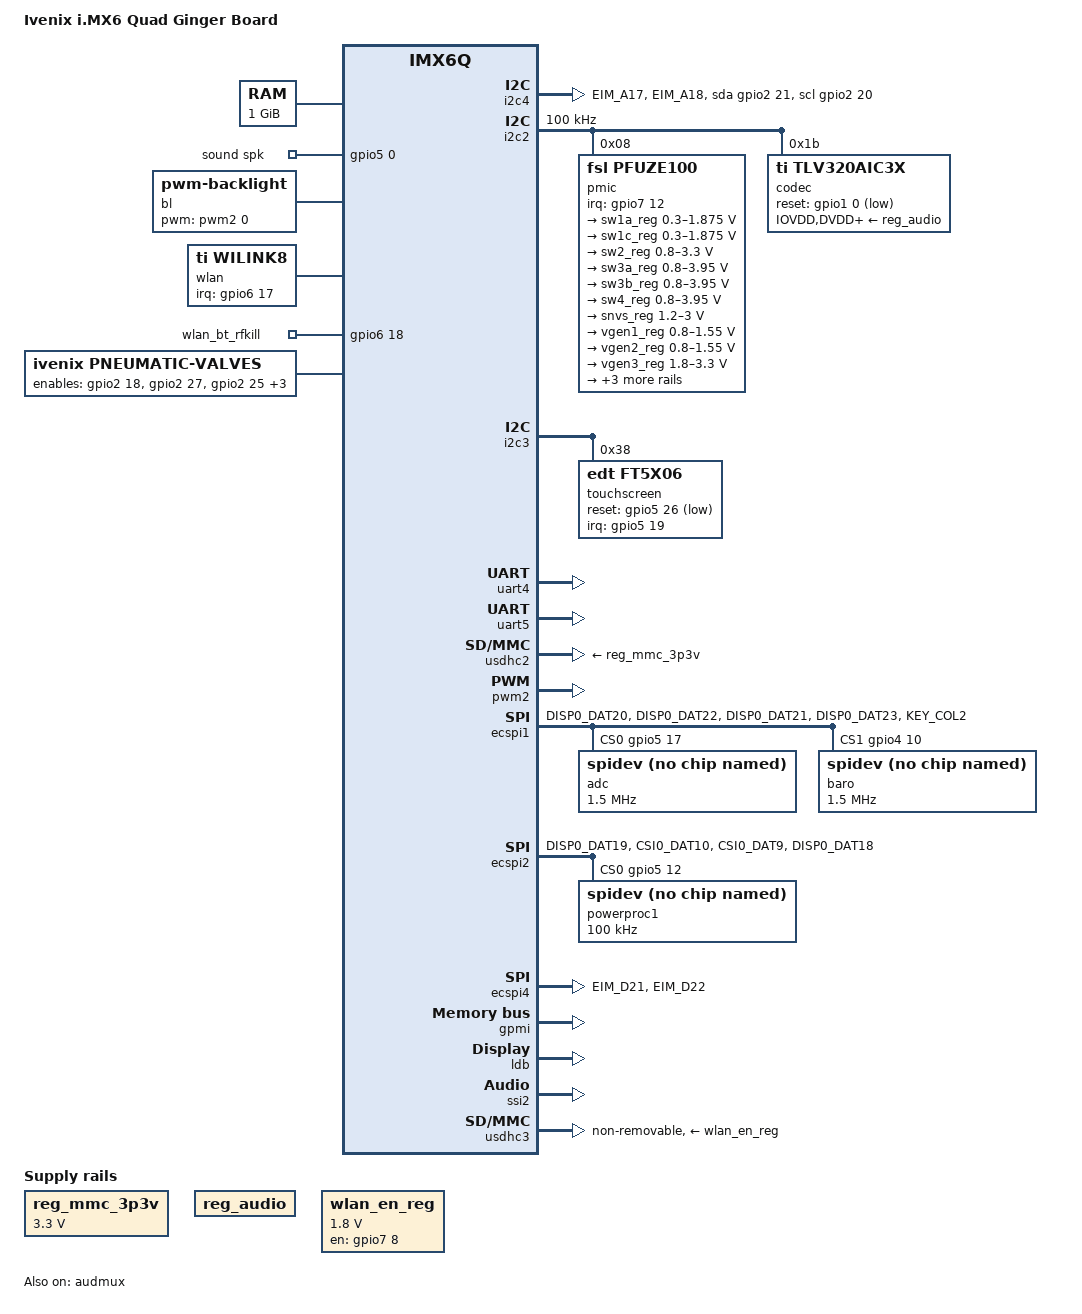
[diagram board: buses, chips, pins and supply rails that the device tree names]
/*
 * Copyright 2014 Ivenix Corp.
 *
 * The code contained herein is licensed under the GNU General Public
 * License. You may obtain a copy of the GNU General Public License
 * Version 2 or later at the following locations:
 *
 * http://www.opensource.org/licenses/gpl-license.html
 * http://www.gnu.org/copyleft/gpl.html
 */

#include "imx6q.dtsi"

/ {
	model = "Ivenix i.MX6 Quad Ginger Board";
	compatible = "fsl,imx6q-ginger", "fsl,imx6q";

	memory {
		reg = <0x10000000 0x40000000>;
	};

	aliases {
		mxcfb0 = &mxcfb1;
	};

	regulators {
		compatible = "simple-bus";

		reg_mmc_3p3v: 3p3v {
			compatible = "regulator-fixed";
			regulator-name = "3P3V";
			regulator-min-microvolt = <3300000>;
			regulator-max-microvolt = <3300000>;
			regulator-always-on;
		};

		reg_audio: tlv320aic3x_supply {
			compatible = "regulator-fixed";
			regulator-name = "tlv320aic3x-supply";
			enable-active-high;
		};
	};

	sound {
		compatible = "fsl,imx6q-var-som-tlv320aic3x", "fsl,imx-audio-tlv320aic3x";
		model = "tlv320aic3x-audio";
		ssi-controller = <&ssi2>;
		audio-codec = <&codec>;
		audio-routing =
			/* Headphone connected to HPLOUT, HPROUT */
			"Headphone Jack",       "HPLOUT",
			"Headphone Jack",       "HPROUT",
			/* Line Out connected to LLOUT, RLOUT */
			"Line Out",      	"LLOUT",
			"Line Out",     	"RLOUT",
			/* Mic connected to (MIC3L | MIC3R) */
			"Mic Bias",		"MIC3L",
			"Mic Bias",		"MIC3R",
			"Mic Jack",		"Mic Bias",
			/* Line In connected to (LINE1L | LINE2L), (LINE1R | LINE2R) */
			"Line In",		"LINE1L",
			"Line In",		"LINE2L",
			"Line In",		"LINE1R",
			"Line In",		"LINE2R";
		mux-int-port = <2>;
		mux-ext-port = <3>;
		spk-gpio = <&gpio5 0 0>;
	};

	mxcfb1: fb@0 {
	       compatible = "fsl,mxc_sdc_fb";
	       disp_dev = "ldb";
	       interface_pix_fmt = "RGB24";
	       mode_str ="LDB-VGA";
	       default_bpp = <16>;
	       int_clk = <0>;
	       late_init = <0>;
	       status = "okay";
	};


    wlcore {
		compatible = "wlcore";
		gpio = <177>;   /* The wl8 driver expects gpio to be an integer, so gpio6_17 is (6-1)*32+17=207
		        	   irq property must not be set as driver derives irq number from gpio if no irq set
	 			   use edge irqs for suspend/resume */
		platform-quirks = <1>;
		/* if a 12xx card is there, configure the clock to WL12XX_REFCLOCK_38_XTAL */
		board-ref-clock = <4>;
	};

	wlan_en_reg: fixedregulator@2 {
		compatible = "regulator-fixed";
		regulator-name = "wlan-en-regulator";
		regulator-min-microvolt = <1800000>;
		regulator-max-microvolt = <1800000>;

		/* WLAN_EN GPIO for this board - Bank5, pin13 */
		gpio = <&gpio7 8 0>;

		/* WLAN card specific delay */
		startup-delay-us = <70000>;
		enable-active-high;
	};

	i2c4: i2c@4 {
		compatible = "i2c-gpio";
		#address-cells = <1>;
		#size-cells = <0>;
		gpios = <&gpio2 21 0	// SDA
			 &gpio2 20 0	// SCL
			>;
		i2c-gpio,delay-us = <50>;
		i2c-gpio,timeout-ms = <10>;

		pinctrl-names = "default";
		pinctrl-0 = <&pinctrl_i2c4_1>;
		status = "okay";

		// fluid valve encoder
	};

	lcd@0 {
		compatible = "fsl,lcd";
		ipu_id = <0>;
		disp_id = <0>;
		default_ifmt = "RGB565";
//		pinctrl-names = "default";
//		pinctrl-0 = <&pinctrl_ipu1_1>;
		status = "okay";
	};

	bl: backlight {
		compatible = "pwm-backlight";
		pwms = <&pwm2 0 10000000 1>; /* 100 Hz, inverted polarity */
		pwm-names = "backlight";
		brightness-levels = <0 39 65 90 128 179 39 76 128 192 255>;
 		default-brightness-level = <10>;
		low-threshold-brightness = <30>;
	};

    wlan {
		compatible = "ti,wilink8";
		interrupt-parent = <&gpio6>;
		interrupts = <17 0>;
		clocks = <&refclock>;
		clock-names = "refclock";

		refclock: refclock {
			compatible = "ti,wilink-clock";
			#clock-cells = <0>;
			clock-frequency = <38400000>;
		};
	};

	wlan_bt_rfkill {
		compatible = "net,rfkill-gpio";
		name = "wlan_bt_rfkill";
		type = <2>;     /* bluetooth */
		gpios = <&gpio6 18 0>;
	};

	valves {
		compatible = "ivenix,pneumatic-valves";

		pinctrl-names = "default";
		pinctrl-0 = <&pinctrl_valves>;

		/*
		 * The control lines must be listed in the following order:
		 *
		 * pump positive vent
		 * negative tank
		 * IPC
		 * positive tank
		 * common vent
		 * pump negative vent
		 */
		enables = <&gpio2 18 0>, <&gpio2 27 0>, <&gpio2 25 0>, <&gpio2 19 0>, <&gpio2 26 0>, <&gpio2 28 0>;
	};

	lvp-control-signals {
		compatible = "gpio-of-helper";
		status = "okay";
		pinctrl-names = "default";
		pinctrl-0 = <&pinctrl_lvpio>;

		audio-pwr-en {
			gpio-name = "AUDIO_PWR_EN";
			gpio = <&gpio5 4 0>;
			output;
			init-low;
		};

		av-motor-en {
			gpio-name = "AV_MOTOR_ENn";
			gpio = <&gpio2 23 0>;
			output;
			init-high;
		};

		av-motor-dir {
			gpio-name = "AV_MOTOR_DIR";
			gpio = <&gpio2 16 0>;
			output;
			init-low;
		};

		/* Set ID */

		set-id-en {
			gpio-name = "SET_ID_EN";
			gpio = <&gpio6 5 0>;
			output;
			init-high;
		};

		set-id-addr1 {
			gpio-name = "SET_ID_ADDR1";
			gpio = <&gpio6 0 0>;
			output;
            init-low;
		};

		set-id-addr2 {
			gpio-name = "SET_ID_ADDR2";
			gpio = <&gpio6 1 0>;
			output;
            init-low;
		};

		set-id-addr3 {
			gpio-name = "SET_ID_ADDR3";
			gpio = <&gpio6 2 0>;
			output;
            init-low;
		};

		set-id-mark {
			gpio-name = "SET_ID_MARK";
			gpio = <&gpio6 4 0>;
			input;
		};

		/* misc */

		enable-sys-12v {
			gpio-name = "ENABLE_SYS_12V";
			gpio = <&gpio1 4 0>;
			output;
			init-low;
		};

		run-from-batt1 {
			gpio-name = "RUN_FROM_BATT1";
			gpio = <&gpio6 3 0>;
			input;
		};

		run-from-batt2 {
			gpio-name = "RUN_FROM_BATT2";
			gpio = <&gpio6 31 0>;
			input;
		};

        pp-com-rqst-to-som {
            gpio-name = "PP_COM_RQST_TO_SOM";
			gpio = <&gpio6 6 0>;
			input;
         };


		/* LCD */

		lcd-en {
			gpio-name = "LCD_EN";
			gpio = <&gpio5 20 0>;
			output;
			init-low;
		};

		lcd-bl-en {
			gpio-name = "LCD_BL_EN";
			gpio = <&gpio5 21 0>;
			output;
			init-low;
		};

		/* air compressor */

		air-pump-drv {
			gpio-name = "AIR_PUMP_DRV";
			gpio = <&gpio4 14 0>;
			output;
			init-low;
		};
        
        

	};

};


	

&audmux {
	pinctrl-names = "default";
	pinctrl-0 = <&pinctrl_audmux_2>;
	status = "okay";
};

&iomuxc {
	pinctrl-names = "default";
	pinctrl-0 = <&pinctrl_hog>;

	hog {
		pinctrl_hog: hoggrp {
			fsl,pins = <
				//MX6QDL_PAD_SD3_DAT7__GPIO6_IO17		0x0001b0b0	/* wl12xx_wl_irq */
				//MX6QDL_PAD_SD3_DAT6__GPIO6_IO18		0x000000b0	/* wl12xx_bt_en */
				//MX6QDL_PAD_SD3_RST__GPIO7_IO08		0x000000b0	/* wl12xx_wl_en */
				MX6QDL_PAD_GPIO_17__GPIO7_IO12		0x80000000	/* PMIC irq */
				MX6QDL_PAD_ENET_RXD0__OSC32K_32K_OUT	0x80000000	/* WIFI Slow clock */

				MX6QDL_PAD_GPIO_3__CCM_CLKO2		0x000130b0	/* Camera MCLK */

				MX6QDL_PAD_GPIO_0__CCM_CLKO1		0x000130b0	/* Audio Codec Clock */
			>;
		};
	};

	i2c4 {
		pinctrl_i2c4_1: i2c4grp-1 {
			fsl,pins = <
				MX6QDL_PAD_EIM_A17__GPIO2_IO21 0x00017070 /* SDA */
				MX6QDL_PAD_EIM_A18__GPIO2_IO20 0x00017070 /* SCL */
			>;
		};
	};

	spi1 {
		pinctrl_spi1: spi1grp-1 {
			fsl,pins = <
				MX6QDL_PAD_DISP0_DAT20__ECSPI1_SCLK 0x100b1
				MX6QDL_PAD_DISP0_DAT22__ECSPI1_MISO 0x100b1
				MX6QDL_PAD_DISP0_DAT21__ECSPI1_MOSI 0x100b1

				MX6QDL_PAD_DISP0_DAT23__GPIO5_IO17 0x80000000
				MX6QDL_PAD_KEY_COL2__GPIO4_IO10 0x80000000
			>;
		};
	};

	spi2 {
		pinctrl_spi2: spi2grp-1 {
			fsl,pins = <
				MX6QDL_PAD_DISP0_DAT19__ECSPI2_SCLK 0x100b1
				MX6QDL_PAD_CSI0_DAT10__ECSPI2_MISO 0x100b1
				MX6QDL_PAD_CSI0_DAT9__ECSPI2_MOSI 0x100b1

				MX6QDL_PAD_DISP0_DAT18__GPIO5_IO12 0x80000000
			>;
		};
	};

	spi4 {
		pinctrl_spi4: spi4grp-1 {
			fsl,pins = <
				MX6QDL_PAD_EIM_D21__ECSPI4_SCLK 0x800100b1
				MX6QDL_PAD_EIM_D22__ECSPI4_MISO 0x800100b1
			>;
		};
	};

	touch {
		edt_ft5x06_pins: ft5x06grp-1 {
			fsl,pins = <
				MX6QDL_PAD_CSI0_MCLK__GPIO5_IO19 0x80000000	/* TOUCH_PANEL_INTn */
                MX6QDL_PAD_CSI0_DAT8__GPIO5_IO26 0x80000000	/* TOUCH_PANEL_RSTn */ 
			>;
		};
	};

	valves {
		pinctrl_valves: valves-1 {
			fsl,pins = <
				MX6QDL_PAD_EIM_A20__GPIO2_IO18	0x80000000	/* PNEU_VLV_ON_1 */
				MX6QDL_PAD_EIM_A19__GPIO2_IO19	0x80000000	/* PNEU_VLV_ON_2 */
				MX6QDL_PAD_EIM_OE__GPIO2_IO25	0x80000000	/* PNEU_VLV_ON_3 */
				MX6QDL_PAD_EIM_RW__GPIO2_IO26	0x80000000	/* PNEU_VLV_ON_4 */
				MX6QDL_PAD_EIM_LBA__GPIO2_IO27	0x80000000	/* PNEU_VLV_ON_5 */
				MX6QDL_PAD_EIM_EB0__GPIO2_IO28	0x80000000	/* PNEU_VLV_ON_6 */
			>;
		};
	};

	lvpio {
		pinctrl_lvpio: lvpio-1 {
			fsl,pins = <
				MX6QDL_PAD_EIM_BCLK__GPIO6_IO31	0x80000000	/* RUN_FROM_BATT2 */
				MX6QDL_PAD_EIM_WAIT__GPIO5_IO00	0x80000000	/* AUDIO_AMP_EN */
				MX6QDL_PAD_EIM_A24__GPIO5_IO04	0x80000000	/* AUDIO_PWR_EN */
				MX6QDL_PAD_EIM_A23__GPIO6_IO06  0x80000000  /* PP_COM_RQST_TO_SOM */
                MX6QDL_PAD_EIM_CS0__GPIO2_IO23	0x80000000	/* AV_MOTOR_ENn */
				MX6QDL_PAD_EIM_A22__GPIO2_IO16	0x80000000	/* AV_MOTOR_DIR */
				MX6QDL_PAD_CSI0_DAT19__GPIO6_IO05 0x80000000	/* SET_ID_EN */
				MX6QDL_PAD_CSI0_DAT14__GPIO6_IO00 0x80000000	/* SET_ID_ADDR1 */
				MX6QDL_PAD_CSI0_DAT15__GPIO6_IO01 0x80000000	/* SET_ID_ADDR2 */
				MX6QDL_PAD_CSI0_DAT16__GPIO6_IO02 0x80000000	/* SET_ID_ADDR3 */
				MX6QDL_PAD_CSI0_DAT17__GPIO6_IO03 0x80000000	/* RUN_FROM_BATT1 */
				MX6QDL_PAD_CSI0_DAT18__GPIO6_IO04 0x80000000	/* SET_ID_MARK */ 
				MX6QDL_PAD_GPIO_4__GPIO1_IO04	0x80000000	    /* ENABLE_SYS_12V */
				MX6QDL_PAD_CSI0_DATA_EN__GPIO5_IO20 0x80000000	/* LCD_EN */
				MX6QDL_PAD_CSI0_VSYNC__GPIO5_IO21 0x80000000	/* LCD_BL_EN */
				MX6QDL_PAD_KEY_COL4__GPIO4_IO14	0x80000000	/* AIR_PUMP_DRV */

			>;
		};
	};
};

&i2c2 {
	clock-frequency = <100000>;
	pinctrl-names = "default";
	pinctrl-0 = <&pinctrl_i2c2_2>;
	status = "okay";

	pmic: pfuze100@08 {
		compatible = "fsl,pfuze100";
		reg = <0x08>;
		interrupt-parent = <&gpio7>;
		interrupts = <12 0>;

		regulators {
			sw1a_reg: sw1ab {
				regulator-min-microvolt = <300000>;
				regulator-max-microvolt = <1875000>;
				regulator-boot-on;
				regulator-always-on;
				regulator-ramp-delay = <6250>;
			};

			sw1c_reg: sw1c {
				regulator-min-microvolt = <300000>;
				regulator-max-microvolt = <1875000>;
				regulator-boot-on;
				regulator-always-on;
				regulator-ramp-delay = <6250>;
			};

			sw2_reg: sw2 {
				regulator-min-microvolt = <800000>;
				regulator-max-microvolt = <3300000>;
				regulator-boot-on;
				regulator-always-on;
			};

			sw3a_reg: sw3a {
				regulator-min-microvolt = <800000>;
				regulator-max-microvolt = <3950000>;
				regulator-boot-on;
				regulator-always-on;
			};

			sw3b_reg: sw3b {
				regulator-min-microvolt = <800000>;
				regulator-max-microvolt = <3950000>;
				regulator-boot-on;
				regulator-always-on;
			};

			sw4_reg: sw4 {
				regulator-min-microvolt = <800000>;
				regulator-max-microvolt = <3950000>;
			};

			snvs_reg: vsnvs {
				regulator-min-microvolt = <1200000>;
				regulator-max-microvolt = <3000000>;
				regulator-boot-on;
				regulator-always-on;
			};

			vref_reg: vrefddr {
				regulator-boot-on;
				regulator-always-on;
			};

			vgen1_reg: vgen1 {
				regulator-min-microvolt = <800000>;
				regulator-max-microvolt = <1550000>;
			};

			vgen2_reg: vgen2 {
				regulator-min-microvolt = <800000>;
				regulator-max-microvolt = <1550000>;
			};

			vgen3_reg: vgen3 {
				regulator-min-microvolt = <1800000>;
				regulator-max-microvolt = <3300000>;
				regulator-always-on;
				regulator-boot-on;
			};

			vgen4_reg: vgen4 {
				regulator-min-microvolt = <1800000>;
				regulator-max-microvolt = <3300000>;
				regulator-always-on;
				regulator-boot-on;
			};

			vgen5_reg: vgen5 {
				regulator-min-microvolt = <1800000>;
				regulator-max-microvolt = <3300000>;
				regulator-always-on;
				regulator-boot-on;
			};

			vgen6_reg: vgen6 {
				regulator-min-microvolt = <3300000>;
				regulator-max-microvolt = <3300000>;
				regulator-always-on;
				regulator-boot-on;
			};
		};
	};

	codec: tlv320aic3x@1b {
		compatible = "ti,tlv320aic3x";
		reg = <0x1b>;
		clocks = <&clks 201>;
		clock-names = "clko_clk";
		IOVDD-supply = <&reg_audio>;
		DVDD-supply = <&reg_audio>;
		AVDD-supply = <&reg_audio>;
		DRVDD-supply = <&reg_audio>;
		gpio-reset = <&gpio1 0 1>;
		gpio-cfg = <
			0x0000 /* 0:Default */
			0x0000 /* 1:Default */
			0x0013 /* 2:FN_DMICCLK */
			0x0000 /* 3:Default */
			0x8014 /* 4:FN_DMICCDAT */
			0x0000 /* 5:Default */
		>;
       	};
};

&i2c3 {
	pinctrl-names = "default";
	pinctrl-0 = <&pinctrl_i2c3_3>;
	status = "okay";

	touchscreen {
		compatible = "edt,ft5x06";
		reg = <0x38>;
		pinctrl-names = "default";
		pinctrl-0 = <&edt_ft5x06_pins>;
		interrupt-parent = <&gpio5>;
		interrupts = <19 0>;
		reset-gpios = <&gpio5 26 1>;
	};
};


&uart4 {
	/* Safety Processor I/F */
	pinctrl-names = "default";
	pinctrl-0 = <&pinctrl_uart4_2>;
	status = "okay";
};

&uart5 {
	/* Linux Console */
	pinctrl-names = "default";
	pinctrl-0 = <&pinctrl_uart5_1>;
	status = "okay";
};

&usdhc2 {
	pinctrl-names = "default";
	pinctrl-0 = <&pinctrl_usdhc2_2>;
	vmmc-supply = <&reg_mmc_3p3v>;
	status = "okay";
};


/* LCD */

&pwm2 {
        pinctrl-names = "default";
        pinctrl-0 = <&pinctrl_pwm2_1>;
        status = "okay";
};

/* 
 * SPI1
 *
 * SS0: ADC
 * SS1: barometric pressure
 */

&ecspi1 {
	pinctrl-names = "default";
	pinctrl-0 = <&pinctrl_spi1>;

	fsl,spi-num-chipselects = <2>;
	cs-gpios = <&gpio5 17 0>, <&gpio4 10 0>;
	status = "okay";

	adc: ad7190@0 {
		/* AD7190 */
		compatible = "spidev";
		reg = <0>;
		spi-max-frequency = <1500000>;
	};

	baro: m25p80@1 {
		/* Barometric pressure sensor */
		compatible = "spidev";
		reg = <1>;
		spi-max-frequency = <1500000>;
	};
};

/*
 * SPI2
 *
 * SS0: Power Processor
 */

&ecspi2 {
	pinctrl-names = "default";
	pinctrl-0 = <&pinctrl_spi2>;

	fsl,spi-num-chipselects = <1>;
	cs-gpios = <&gpio5 12 0>;
	status = "okay";

	powerproc1: powerproc1@0 {
		compatible = "spidev";
		reg = <0>;
		spi-max-frequency = <100000>;
	        spi-cs-setup-time = <1>;       /* for cs-gpios, in milliseconds */

	};
};

/*
 * SPI4
 *
 * pressure sensors
 */

&ecspi4 {
	pinctrl-names = "default";
	pinctrl-0 = <&pinctrl_spi4>;

	fsl,spi-num-chipselects = <1>;
	status = "okay";
};

&gpmi {
	pinctrl-names = "default";
	pinctrl-0 = <&pinctrl_gpmi_nand_1>;

	nand-bus-width = <8>;
	nand-ecc-mode = "hw";

	status = "okay";
};

&ldb {
	ipu_id = <1>;
	disp_id = <0>;
	ext_ref = <1>;
	mode = "sin1";
	sec_ipu_id = <1>;
	sec_disp_id = <1>;
	status = "okay";
};

&ssi2 {
	fsl,mode = "i2s-slave";
	status = "okay";
};

&cpu0 {
	arm-supply = <&sw1a_reg>;
	soc-supply = <&sw1c_reg>;
	pu-supply = <&pu_dummy>; /* use pu_dummy if VDDSOC share with VDDPU */
};

&gpc {
	fsl,cpu_pupscr_sw2iso = <0xf>;
	fsl,cpu_pupscr_sw = <0xf>;
	fsl,cpu_pdnscr_iso2sw = <0x1>;
	fsl,cpu_pdnscr_iso = <0x1>;
	fsl,ldo-bypass = <1>; /* use ldo-bypass, u-boot will check it and configure */
	fsl,wdog-reset = <1>; /* watchdog select of reset source */
	pu-supply = <&pu_dummy>; /* ldo-bypass:use pu_dummy if VDDSOC share with VDDPU */
};


&usdhc3 {	/* uSDHC3, TiWi wl1271 7 Wilink8 WL18xx*/
	pinctrl-names = "default", "state_100mhz", "state_200mhz";
	pinctrl-0 = <&pinctrl_usdhc3_2>;
	pinctrl-1 = <&pinctrl_usdhc3_2_100mhz>;
	pinctrl-2 = <&pinctrl_usdhc3_2_200mhz>;
	keep-power-in-suspend;
	enable-sdio-wakeup;
	vmmc-supply = <&wlan_en_reg>;        
	non-removable;
	cap-power-off-card;
	status = "okay";
};

&gpu {
	pu-supply = <&pu_dummy>; /* ldo-bypass:use pu_dummy if VDDSOC share with VDDPU */
};
